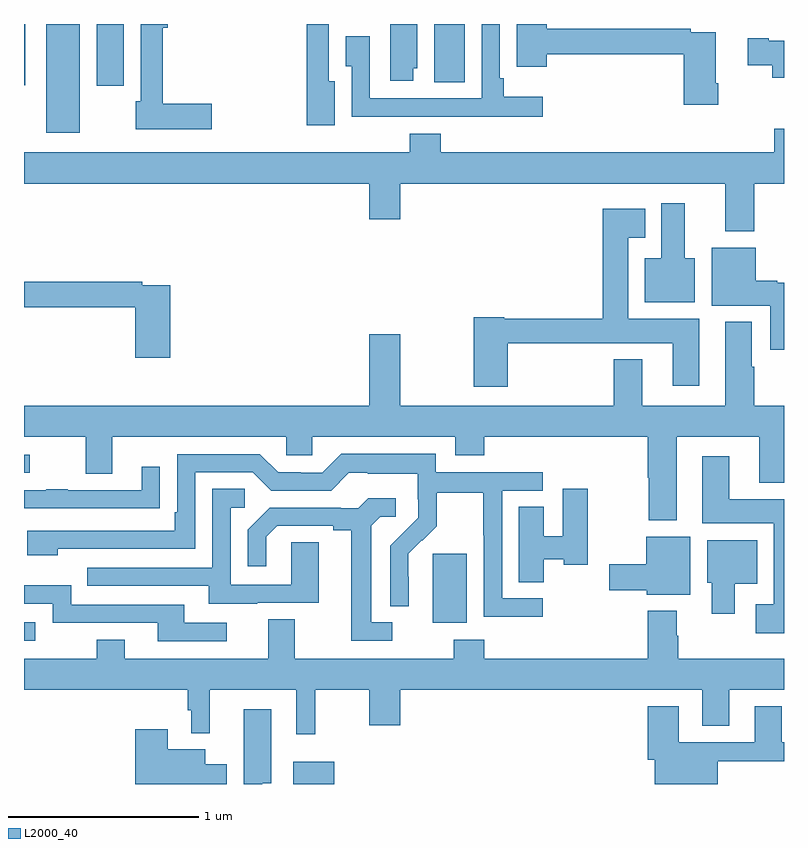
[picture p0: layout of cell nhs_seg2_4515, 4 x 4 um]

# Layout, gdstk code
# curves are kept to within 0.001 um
import gdstk
lib = gdstk.Library(unit=1e-6, precision=1e-09)
def R(c, l, rs):  # rectangles x0, y0, x1, y1
    for r in rs: c.add(gdstk.rectangle(r[:2], r[2:], *l))
def P(c, l, *ps):  # polygons
    for p in ps: c.add(gdstk.Polygon(p, *l))
L2000_40 = (2000, 40)

nhs_seg2_4515 = lib.new_cell('nhs_seg2_4515')
R(nhs_seg2_4515, L2000_40, [(356.417,653.8,356.632,653.917), (355,654.555,355.06,654.651), (357.152,654.65,357.331,655.011), (355,655.437,355.03,655.533), (355.118,657.228,355.294,657.8), (355.382,657.474,355.525,657.8), (355,657.477,355.006,657.8), (357.158,657.493,357.319,657.8)])
P(nhs_seg2_4515, L2000_40, [(355.987,657.38),(355.73,657.38),(355.73,657.779),(355.757,657.779),(355.757,657.8),(355.614,657.8),(355.614,657.393),(355.588,657.393),(355.588,657.245),(355.987,657.245)],
  [(356.945,657.312),(357.311,657.312),(357.311,657.311),(357.73,657.311),(357.73,657.418),(357.524,657.418),(357.524,657.514),(357.504,657.514),(357.504,657.8),(357.408,657.8),(357.408,657.408),(356.82,657.408),(356.82,657.736),(356.693,657.736),(356.693,657.577),(356.724,657.577),(356.724,657.311),(356.945,657.311)],
  [(357.049,657.567),(357.07,657.567),(357.07,657.8),(356.927,657.8),(356.927,657.501),(357.049,657.501)],
  [(356.635,657.499),(356.605,657.499),(356.605,657.8),(356.487,657.8),(356.487,657.267),(356.635,657.267)],
  [(358.655,657.487),(358.642,657.487),(358.642,657.756),(358.508,657.756),(358.508,657.776),(357.752,657.776),(357.752,657.8),(357.593,657.8),(357.593,657.576),(357.752,657.576),(357.752,657.64),(358.472,657.64),(358.472,657.375),(358.655,657.375)],
  [(359,657.712),(358.921,657.712),(358.921,657.725),(358.809,657.725),(358.809,657.583),(358.939,657.583),(358.939,657.518),(359,657.518)],
  [(358.844,656.96),(359,656.96),(359,657.248),(358.949,657.248),(358.949,657.124),(357.194,657.124),(357.194,657.223),(357.029,657.223),(357.029,657.124),(355,657.124),(355,656.96),(356.816,656.96),(356.816,656.772),(356.98,656.772),(356.98,656.96),(358.691,656.96),(358.691,656.708),(358.844,656.708)],
  [(358.531,656.566),(358.477,656.566),(358.477,656.857),(358.355,656.857),(358.355,656.566),(358.268,656.566),(358.268,656.336),(358.531,656.336)],
  [(357.545,656.121),(358.062,656.121),(358.062,656.12),(358.415,656.12),(358.415,655.896),(358.555,655.896),(358.555,656.248),(358.18,656.248),(358.18,656.675),(358.27,656.675),(358.27,656.827),(358.046,656.827),(358.046,656.249),(357.528,656.249),(357.528,656.257),(357.367,656.257),(357.367,655.89),(357.545,655.89)],
  [(359,656.437),(358.965,656.437),(358.965,656.45),(358.852,656.45),(358.852,656.623),(358.619,656.623),(358.619,656.318),(358.928,656.318),(358.928,656.085),(359,656.085)],
  [(355.769,656.424),(355.622,656.424),(355.622,656.444),(355,656.444),(355,656.308),(355.586,656.308),(355.586,656.043),(355.769,656.043)],
  [(358.435,655.628),(358.871,655.628),(358.871,655.385),(359,655.385),(359,655.792),(358.844,655.792),(358.844,655.997),(358.831,655.997),(358.831,656.233),(358.691,656.233),(358.691,655.792),(358.255,655.792),(358.255,656.035),(358.103,656.035),(358.103,655.792),(356.98,655.792),(356.98,656.167),(356.816,656.167),(356.816,655.792),(355,655.792),(355,655.628),(355.325,655.628),(355.325,655.434),(355.465,655.434),(355.465,655.628),(356.379,655.628),(356.379,655.53),(356.517,655.53),(356.517,655.628),(357.269,655.628),(357.269,655.529),(357.422,655.529),(357.422,655.628),(358.283,655.628),(358.283,655.413),(358.288,655.413),(358.288,655.187),(358.435,655.187)],
  [(357.73,654.777),(357.516,654.777),(357.516,655.344),(357.73,655.344),(357.73,655.44),(357.168,655.44),(357.168,655.537),(356.671,655.537),(356.571,655.437),(356.456,655.437),(356.456,655.44),(356.337,655.44),(356.241,655.536),(355.806,655.536),(355.806,655.231),(355.793,655.231),(355.793,655.134),(355.017,655.134),(355.017,655.004),(355.178,655.004),(355.178,655.038),(355.902,655.038),(355.902,655.44),(356.205,655.44),(356.301,655.344),(356.616,655.344),(356.709,655.437),(356.809,655.437),(356.809,655.433),(357.072,655.433),(357.072,655.299),(357.074,655.299),(357.074,655.202),(356.928,655.054),(356.928,654.736),(357.024,654.736),(357.023,655.013),(357.093,655.083),(357.096,655.08),(357.173,655.157),(357.173,655.332),(357.418,655.332),(357.418,655.108),(357.42,655.108),(357.42,654.679),(357.73,654.679)],
  [(359,655.3),(358.711,655.3),(358.711,655.525),(358.571,655.525),(358.571,655.172),(358.946,655.172),(358.946,654.745),(358.851,654.745),(358.851,654.593),(359,654.593)],
  [(355.613,655.252),(355.715,655.252),(355.715,655.471),(355.619,655.471),(355.619,655.347),(355.229,655.347),(355.229,655.352),(355.117,655.352),(355.117,655.347),(355,655.347),(355,655.251),(355.613,655.251)],
  [(356.227,654.753),(356.551,654.753),(356.551,655.073),(356.406,655.073),(356.406,654.849),(356.088,654.849),(356.088,655.254),(356.161,655.254),(356.161,655.355),(355.992,655.355),(355.992,654.939),(355.333,654.939),(355.333,654.843),(355.973,654.843),(355.973,654.749),(356.227,654.749)],
  [(357.736,654.983),(357.84,654.983),(357.84,654.953),(357.966,654.953),(357.966,655.354),(357.836,655.354),(357.836,655.105),(357.736,655.105),(357.736,655.259),(357.605,655.259),(357.605,654.862),(357.736,654.862)],
  [(356.938,654.651),(356.827,654.651),(356.827,655.159),(356.874,655.206),(356.956,655.206),(356.956,655.303),(356.812,655.303),(356.76,655.251),(356.666,655.251),(356.666,655.254),(356.294,655.254),(356.178,655.138),(356.178,654.945),(356.275,654.945),(356.275,655.101),(356.332,655.158),(356.627,655.158),(356.627,655.136),(356.723,655.136),(356.723,654.555),(356.938,654.555)],
  [(358.507,655.102),(358.274,655.102),(358.274,654.956),(358.08,654.956),(358.08,654.821),(358.278,654.821),(358.278,654.797),(358.507,654.797)],
  [(358.741,654.854),(358.858,654.854),(358.858,655.084),(358.595,655.084),(358.595,654.858),(358.619,654.858),(358.619,654.696),(358.741,654.696)],
  [(356.068,654.648),(355.843,654.648),(355.843,654.744),(355.248,654.744),(355.248,654.847),(355,654.847),(355,654.75),(355.152,654.75),(355.152,654.648),(355.703,654.648),(355.703,654.552),(356.068,654.552)],
  [(356.534,654.296),(356.816,654.296),(356.816,654.108),(356.98,654.108),(356.98,654.296),(358.571,654.296),(358.571,654.106),(358.711,654.106),(358.711,654.296),(359,654.296),(359,654.46),(358.443,654.46),(358.443,654.581),(358.435,654.581),(358.435,654.712),(358.283,654.712),(358.283,654.46),(357.422,654.46),(357.422,654.559),(357.262,654.559),(357.262,654.46),(356.425,654.46),(356.425,654.668),(356.285,654.668),(356.285,654.46),(355.531,654.46),(355.531,654.559),(355.384,654.559),(355.384,654.46),(355,654.46),(355,654.296),(355.861,654.296),(355.861,654.189),(355.881,654.189),(355.881,654.068),(355.978,654.068),(355.978,654.296),(356.432,654.296),(356.432,654.063),(356.534,654.063)],
  [(358.651,653.92),(359,653.92),(359,654.021),(358.987,654.021),(358.987,654.208),(358.847,654.208),(358.847,654.021),(358.447,654.021),(358.447,654.208),(358.283,654.208),(358.283,653.928),(358.319,653.928),(358.319,653.8),(358.651,653.8)],
  [(356.254,653.804),(356.302,653.804),(356.302,654.193),(356.156,654.193),(356.156,653.8),(356.254,653.8)],
  [(356.068,653.905),(355.954,653.905),(355.954,653.983),(355.756,653.983),(355.756,654.088),(355.586,654.088),(355.586,653.8),(356.068,653.8)])

lib.write_gds('nhs_seg2_4515.gds')
